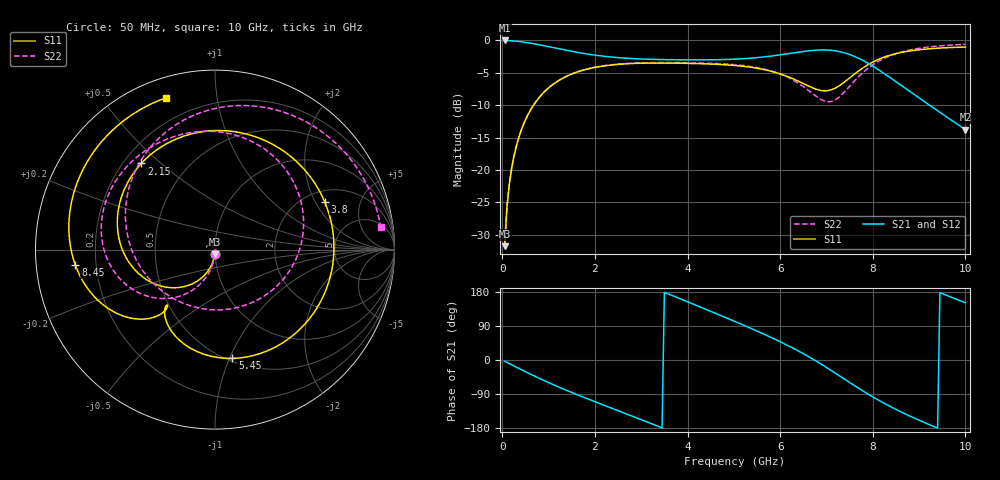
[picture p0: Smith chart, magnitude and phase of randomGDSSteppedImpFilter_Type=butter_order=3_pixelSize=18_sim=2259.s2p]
! freq	dB(S11)	phase(S11)	dB(S12)	phase(S12)
!  dB(S21)	phase(S21)	dB(S22)	phase(S22)
!S-par simulation data
#  GHz  S  DB  R 50
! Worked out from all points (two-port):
!   200 points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, 50 MHz to 10 GHz, reference 50 ohm
!   highest |S21| = -0.01 dB at 50 MHz (marker M1); lowest = -13.8 dB at 10 GHz (marker M2)
!   |S21| within 3 dB of the highest: start of sweep to 4.047 GHz; 4.322 GHz to 7.762 GHz (3.441 GHz wide, 56.9 % of centre)
!   lowest |S11| = -31.8 dB at 50 MHz (marker M3), VSWR 1.05, Z = 49.8 - j2.56 ohm
!   |S11| at or under -10 dB: start of sweep to 675.5 MHz
!   |S22| runs from -31.8 to -0.6 dB; largest |S21 - S12| = 0
!   S11 on the Smith chart (normalised r, x): 50 MHz: 1.00, -0.05; 2.15 GHz: 0.27, +0.43; 3.8 GHz: 2.49, +2.40; 5.45 GHz: 0.53, -1.02; 8.45 GHz: 0.12, -0.05; 10 GHz: 0.09, +0.72
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0.05  -31.79 -93.7  -0.01 -3.1  -0.01 -3.1  -31.78 -92.9
0.1  -25.79 -97.4  -0.02 -6.3  -0.02 -6.3  -25.78 -95.7
0.2  -19.84 -104.7  -0.06 -12.6  -0.06 -12.6  -19.83 -101.3
0.5  -12.28 -125.8  -0.31 -31.0  -0.31 -31.0  -12.27 -117.2
1.1  -6.77 -165.5  -1.12 -65.1  -1.12 -65.1  -6.75 -145.8
1.75  -4.59 154.6  -2.01 -98.0  -2.01 -98.0  -4.57 -171.8
2.15  -3.99 130.5  -2.41 -117.1  -2.41 -117.1  -3.95 174.2
2.8  -3.57 90.2  -2.81 -147.8  -2.81 -147.8  -3.51 153.4
3.4  -3.49 50.8  -2.96 -176.6  -2.96 -176.6  -3.42 135.4
3.8  -3.52 23.7  -3.00 163.7  -3.00 163.7  -3.43 123.5
4.4  -3.63 -16.8  -3.01 133.5  -3.01 133.5  -3.51 104.3
5.05  -3.89 -57.9  -2.89 100.2  -2.89 100.2  -3.77 80.0
5.45  -4.24 -81.0  -2.69 79.1  -2.69 79.1  -4.14 61.9
6.15  -5.56 -115.3  -2.07 39.3  -2.07 39.3  -5.64 19.2
6.7  -7.33 -130.4  -1.55 2.8  -1.55 2.8  -8.21 -36.6
7.15  -7.50 -129.5  -1.57 -31.4  -1.57 -31.4  -9.33 -112.7
7.6  -5.22 -135.2  -2.46 -67.3  -2.46 -67.3  -6.30 173.8
7.95  -3.53 -149.0  -3.76 -93.8  -3.76 -93.8  -4.02 134.1
8.35  -2.33 -168.6  -5.63 -121.0  -5.63 -121.0  -2.43 99.6
8.45  -2.13 -173.6  -6.12 -127.3  -6.12 -127.3  -2.16 92.2
9.15  -1.33 151.0  -9.63 -166.9  -9.63 -166.9  -1.06 48.9
10  -1.03 108.0  -13.79 151.1  -13.79 151.1  -0.61 7.9
